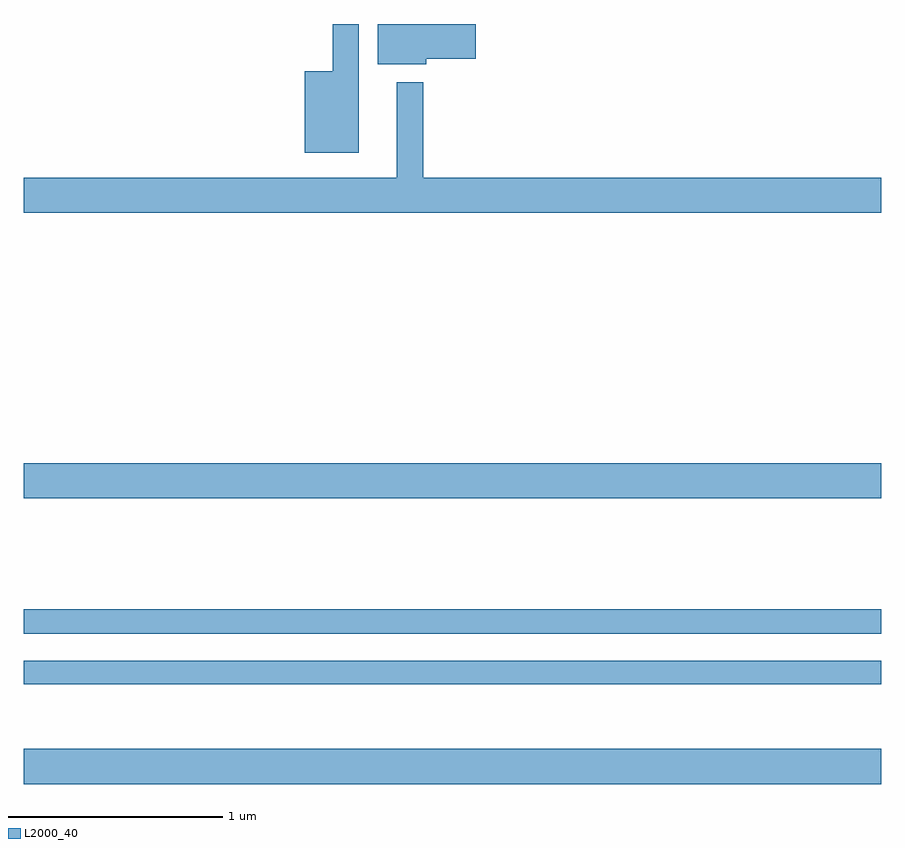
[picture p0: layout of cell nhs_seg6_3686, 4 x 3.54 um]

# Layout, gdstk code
import gdstk
lib = gdstk.Library(unit=1e-6, precision=1e-09)
def R(c, l, rs):  # rectangles x0, y0, x1, y1
    for r in rs: c.add(gdstk.rectangle(r[:2], r[2:], *l))
def P(c, l, *ps):  # polygons
    for p in ps: c.add(gdstk.Polygon(p, *l))
L2000_40 = (2000, 40)

nhs_seg6_3686 = lib.new_cell('nhs_seg6_3686')
R(nhs_seg6_3686, L2000_40, [(325,993.956,329,994.12), (325,994.422,329,994.53), (325,994.656,329,994.772), (325,995.288,329,995.452)])
P(nhs_seg6_3686, L2000_40, [(326.878,997.337),(327.109,997.337),(327.109,997.5),(326.651,997.5),(326.651,997.313),(326.878,997.313)],
  [(326.563,997.5),(326.442,997.5),(326.442,997.279),(326.312,997.279),(326.312,996.899),(326.563,996.899)],
  [(329,996.784),(326.863,996.784),(326.863,997.228),(326.741,997.228),(326.741,996.784),(325,996.784),(325,996.62),(329,996.62)])

lib.write_gds('nhs_seg6_3686.gds')
